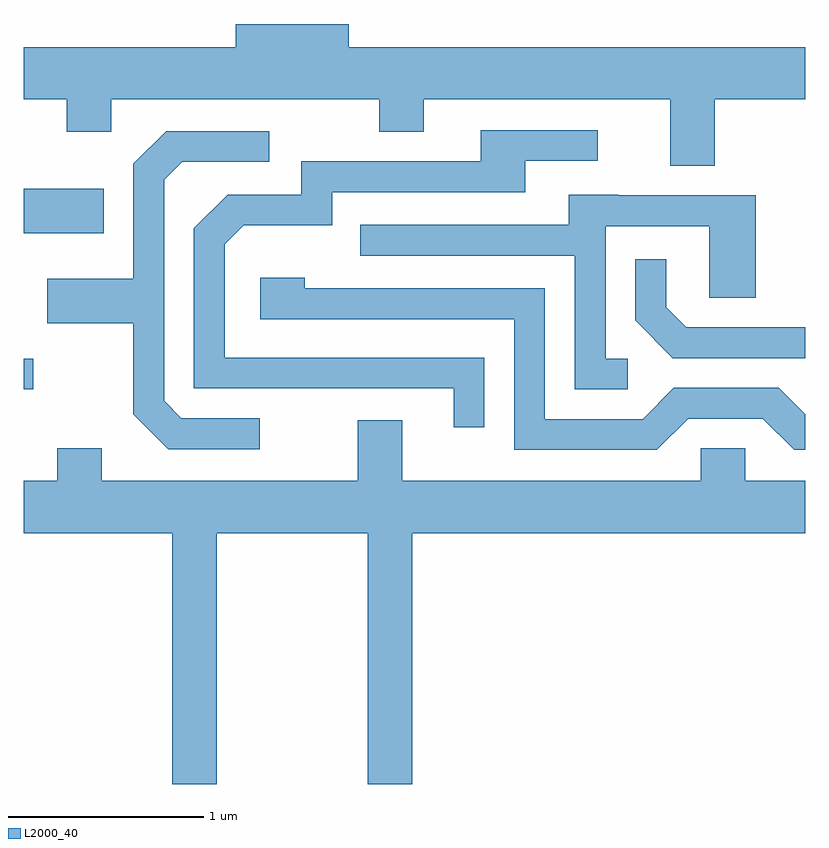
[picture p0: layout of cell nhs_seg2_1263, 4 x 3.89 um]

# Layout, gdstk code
import gdstk
lib = gdstk.Library(unit=1e-6, precision=1e-09)
def R(c, l, rs):  # rectangles x0, y0, x1, y1
    for r in rs: c.add(gdstk.rectangle(r[:2], r[2:], *l))
def P(c, l, *ps):  # polygons
    for p in ps: c.add(gdstk.Polygon(p, *l))
L2000_40 = (2000, 40)

nhs_seg2_1263 = lib.new_cell('nhs_seg2_1263')
R(nhs_seg2_1263, L2000_40, [(221.611,1057.931,221.658,1058.089), (221.611,1058.731,222.019,1058.959)])
P(nhs_seg2_1263, L2000_40, [(225.149,1059.416),(225.611,1059.416),(225.611,1059.684),(223.274,1059.684),(223.274,1059.802),(222.696,1059.802),(222.696,1059.684),(221.611,1059.684),(221.611,1059.416),(221.831,1059.416),(221.831,1059.251),(222.059,1059.251),(222.059,1059.416),(223.431,1059.416),(223.431,1059.251),(223.659,1059.251),(223.659,1059.416),(224.921,1059.416),(224.921,1059.076),(225.149,1059.076)],
  [(223.969,1058.094),(222.639,1058.094),(222.639,1058.674),(222.737,1058.771),(223.189,1058.771),(223.189,1058.941),(224.179,1058.941),(224.179,1059.101),(224.548,1059.101),(224.548,1059.259),(223.951,1059.259),(223.951,1059.099),(223.031,1059.099),(223.031,1058.929),(222.654,1058.929),(222.481,1058.757),(222.481,1057.936),(223.811,1057.936),(223.811,1057.738),(223.969,1057.738)],
  [(222.818,1057.784),(222.417,1057.784),(222.329,1057.872),(222.329,1059.004),(222.422,1059.096),(222.868,1059.096),(222.868,1059.254),(222.339,1059.254),(222.171,1059.087),(222.171,1058.499),(221.731,1058.499),(221.731,1058.271),(222.171,1058.271),(222.171,1057.804),(222.349,1057.626),(222.818,1057.626)],
  [(224.703,1058.089),(224.589,1058.089),(224.589,1058.766),(225.121,1058.766),(225.121,1058.401),(225.359,1058.401),(225.359,1058.924),(224.655,1058.924),(224.655,1058.929),(224.401,1058.929),(224.401,1058.774),(223.333,1058.774),(223.333,1058.616),(224.431,1058.616),(224.431,1057.931),(224.703,1057.931)],
  [(225.611,1058.249),(225.002,1058.249),(224.899,1058.352),(224.899,1058.598),(224.741,1058.598),(224.741,1058.284),(224.934,1058.091),(225.611,1058.091)],
  [(225.012,1057.781),(225.394,1057.781),(225.554,1057.621),(225.611,1057.621),(225.611,1057.805),(225.477,1057.939),(224.939,1057.939),(224.779,1057.779),(224.279,1057.779),(224.279,1058.449),(223.049,1058.449),(223.049,1058.504),(222.821,1058.504),(222.821,1058.291),(224.121,1058.291),(224.121,1057.621),(224.852,1057.621)],
  [(222.599,1057.196),(223.371,1057.196),(223.371,1055.911),(223.599,1055.911),(223.599,1057.196),(225.611,1057.196),(225.611,1057.464),(225.304,1057.464),(225.304,1057.629),(225.076,1057.629),(225.076,1057.464),(223.549,1057.464),(223.549,1057.774),(223.321,1057.774),(223.321,1057.464),(222.009,1057.464),(222.009,1057.629),(221.781,1057.629),(221.781,1057.464),(221.611,1057.464),(221.611,1057.196),(222.371,1057.196),(222.371,1055.911),(222.599,1055.911)])

lib.write_gds('nhs_seg2_1263.gds')
